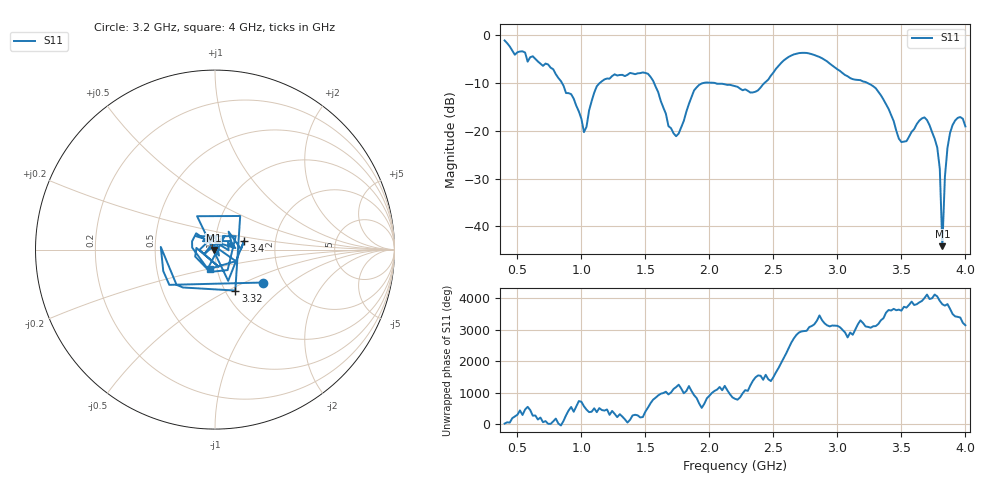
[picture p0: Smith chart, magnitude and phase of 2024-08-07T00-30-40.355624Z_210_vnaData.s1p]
!Created with skrf (http://scikit-rf.org).
# Hz S RI R 50.0
!freq ReS11 ImS11
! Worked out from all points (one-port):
!   181 points, 400 MHz to 4 GHz, reference 50 ohm
!   lowest |S11| = -44.1 dB at 3.82 GHz (marker M1), VSWR 1.01, Z = 49.4 - j0.181 ohm
!   |S11| at or under -10 dB: 1.567 GHz to 1.962 GHz (395.3 MHz wide, 22.4 % of centre); 2.022 GHz to 2.433 GHz (411.3 MHz wide, 18.5 % of centre); 3.231 GHz to end of sweep (the widest 3 of 4)
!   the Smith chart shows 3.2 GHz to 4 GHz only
!   S11 on the Smith chart (normalised r, x): 3.2 GHz: 1.58, -0.65; 3.32 GHz: 1.11, -0.54; 3.4 GHz: 1.38, +0.14; 4 GHz: 0.92, -0.20
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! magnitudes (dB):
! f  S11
! 400 MHz  -1.2
! 740 MHz  -6.2
! 860 MHz  -10.6
! 940 MHz  -13.3
! 1.02 GHz  -20.3
! 1.12 GHz  -10.7
! 1.3 GHz  -8.4
! 1.52 GHz  -8.1
! 1.68 GHz  -19.1
! 1.76 GHz  -20.6
! 1.92 GHz  -10.4
! 2.2 GHz  -10.7
! 2.38 GHz  -11.6
! 2.66 GHz  -4.1
! 3.1 GHz  -9.0
! 3.2 GHz  -9.7
! 3.32 GHz  -11.9
! 3.4 GHz  -15.5
! 3.48 GHz  -21.7
! 3.56 GHz  -21.3
! 3.68 GHz  -17.2
! 3.76 GHz  -21.7
! 3.8 GHz  -27.9
! 3.82 GHz  -44.1
! 3.84 GHz  -29.6
! 3.88 GHz  -20.5
! 3.94 GHz  -17.3
! 4 GHz  -19.1
